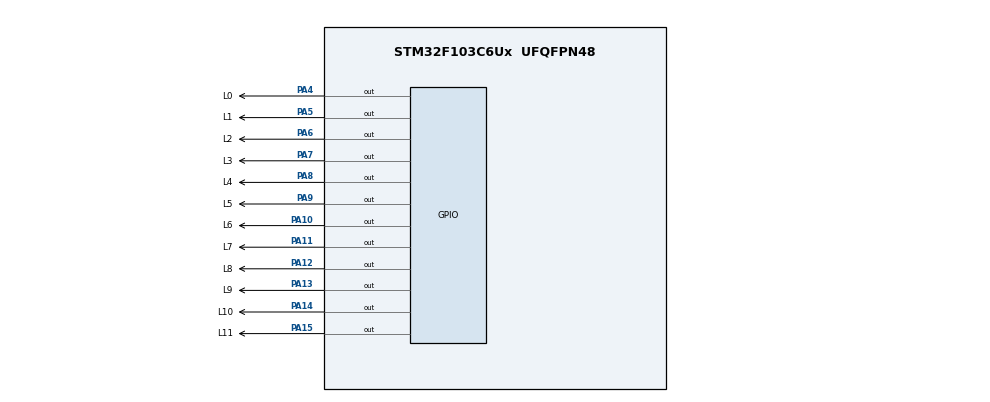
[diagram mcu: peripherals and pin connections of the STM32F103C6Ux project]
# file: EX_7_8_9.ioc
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Mcu.Family=STM32F1
Mcu.Name=STM32F103C6Ux
Mcu.Package=UFQFPN48
NVIC.PriorityGroup=NVIC_PRIORITYGROUP_4
PA10.GPIO_Label=L6
PA10.Signal=GPIO_Output
PA11.GPIO_Label=L7
PA11.Signal=GPIO_Output
PA12.GPIO_Label=L8
PA12.Signal=GPIO_Output
PA13.GPIO_Label=L9
PA13.Signal=GPIO_Output
PA14.GPIO_Label=L10
PA14.Signal=GPIO_Output
PA15.GPIO_Label=L11
PA15.Signal=GPIO_Output
PA4.GPIO_Label=L0
PA4.Signal=GPIO_Output
PA5.GPIO_Label=L1
PA5.Signal=GPIO_Output
PA6.GPIO_Label=L2
PA6.Signal=GPIO_Output
PA7.GPIO_Label=L3
PA7.Signal=GPIO_Output
PA8.GPIO_Label=L4
PA8.Signal=GPIO_Output
PA9.GPIO_Label=L5
PA9.Signal=GPIO_Output
ProjectManager.HeapSize=0x200
ProjectManager.StackSize=0x400
ProjectManager.TargetToolchain=STM32CubeIDE
RCC.APB1Freq_Value=8000000
RCC.APB2Freq_Value=8000000
board=custom

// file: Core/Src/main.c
/* USER CODE BEGIN Header */
/**
  ******************************************************************************
  * @file           : main.c
  * @brief          : Main program body
  ******************************************************************************
  * @attention
  *
  * Copyright (c) 2022 STMicroelectronics.
  * All rights reserved.
  *
  * This software is licensed under terms that can be found in the LICENSE file
  * in the root directory of this software component.
  * If no LICENSE file comes with this software, it is provided AS-IS.
  *
  ******************************************************************************
  */
/* USER CODE END Header */
#include "main.h"

void SystemClock_Config(void);
static void MX_GPIO_Init(void);

/* USER CODE BEGIN 0 */
void clearAllClock() {
	  HAL_GPIO_WritePin(GPIOA,
			  L1_Pin | L2_Pin | L3_Pin |
			  L4_Pin | L5_Pin | L6_Pin |
			  L7_Pin | L8_Pin | L9_Pin |
			  L10_Pin | L11_Pin | L0_Pin, GPIO_PIN_SET);
}

void setNumberOnClock(int num) {
	if (num<0 || num>11) return;
	HAL_GPIO_WritePin(GPIOA, L0_Pin << num, GPIO_PIN_RESET);
}

void clearNumberOnClock(int num) {
	if (num<0 || num >11) return;
	HAL_GPIO_WritePin(GPIOA, L0_Pin << num, GPIO_PIN_SET);
}
/* USER CODE END 0 */

int main(void)
{

  /* MCU Configuration--------------------------------------------------------*/

  /* Reset of all peripherals, Initializes the Flash interface and the Systick. */
  HAL_Init();

  /* Configure the system clock */
  SystemClock_Config();

  /* Initialize all configured peripherals */
  MX_GPIO_Init();
  /* USER CODE BEGIN 2 */
  HAL_GPIO_WritePin(GPIOA,
		  L1_Pin | L2_Pin | L3_Pin |
		  L4_Pin | L5_Pin | L6_Pin |
		  L7_Pin | L8_Pin | L9_Pin |
		  L10_Pin | L11_Pin | L0_Pin, GPIO_PIN_SET);
  /* USER CODE END 2 */

  /* Infinite loop */
  while (1)
  {
    /* USER CODE BEGIN 3 */
	  for (int i=0; i<12; i++) {
		  setNumberOnClock(i);
		  HAL_Delay(100);
	  }
	  HAL_Delay(1000);
	  for (int i=0; i<12; i++) {
		  clearNumberOnClock(i);
		  HAL_Delay(100);
	  }
	  HAL_Delay(1000);
	  for (int i=0; i<12; i++) {
		  setNumberOnClock(i);
		  HAL_Delay(100);
	  }
	  HAL_Delay(1000);
	  clearAllClock();
	  HAL_Delay(1000);
  }
  /* USER CODE END 3 */
}

void SystemClock_Config(void)
{
  RCC_OscInitTypeDef RCC_OscInitStruct = {0};
  RCC_ClkInitTypeDef RCC_ClkInitStruct = {0};

  /** Initializes the RCC Oscillators according to the specified parameters
  * in the RCC_OscInitTypeDef structure.
  */
  RCC_OscInitStruct.OscillatorType = RCC_OSCILLATORTYPE_HSI;
  RCC_OscInitStruct.HSIState = RCC_HSI_ON;
  RCC_OscInitStruct.HSICalibrationValue = RCC_HSICALIBRATION_DEFAULT;
  RCC_OscInitStruct.PLL.PLLState = RCC_PLL_NONE;
  if (HAL_RCC_OscConfig(&RCC_OscInitStruct) != HAL_OK)
  {
    Error_Handler();
  }

  /** Initializes the CPU, AHB and APB buses clocks
  */
  RCC_ClkInitStruct.ClockType = RCC_CLOCKTYPE_HCLK|RCC_CLOCKTYPE_SYSCLK
                              |RCC_CLOCKTYPE_PCLK1|RCC_CLOCKTYPE_PCLK2;
  RCC_ClkInitStruct.SYSCLKSource = RCC_SYSCLKSOURCE_HSI;
  RCC_ClkInitStruct.AHBCLKDivider = RCC_SYSCLK_DIV1;
  RCC_ClkInitStruct.APB1CLKDivider = RCC_HCLK_DIV1;
  RCC_ClkInitStruct.APB2CLKDivider = RCC_HCLK_DIV1;

  if (HAL_RCC_ClockConfig(&RCC_ClkInitStruct, FLASH_LATENCY_0) != HAL_OK)
  {
    Error_Handler();
  }
}

static void MX_GPIO_Init(void)
{
  GPIO_InitTypeDef GPIO_InitStruct = {0};

  /* GPIO Ports Clock Enable */
  __HAL_RCC_GPIOA_CLK_ENABLE();

  /*Configure GPIO pin Output Level */
  HAL_GPIO_WritePin(GPIOA, L0_Pin|L1_Pin|L2_Pin|L3_Pin
                          |L4_Pin|L5_Pin|L6_Pin|L7_Pin
                          |L8_Pin|L9_Pin|L10_Pin|L11_Pin, GPIO_PIN_RESET);

  /*Configure GPIO pins : L0_Pin L1_Pin L2_Pin L3_Pin
                           L4_Pin L5_Pin L6_Pin L7_Pin
                           L8_Pin L9_Pin L10_Pin L11_Pin */
  GPIO_InitStruct.Pin = L0_Pin|L1_Pin|L2_Pin|L3_Pin
                          |L4_Pin|L5_Pin|L6_Pin|L7_Pin
                          |L8_Pin|L9_Pin|L10_Pin|L11_Pin;
  GPIO_InitStruct.Mode = GPIO_MODE_OUTPUT_PP;
  GPIO_InitStruct.Pull = GPIO_NOPULL;
  GPIO_InitStruct.Speed = GPIO_SPEED_FREQ_LOW;
  HAL_GPIO_Init(GPIOA, &GPIO_InitStruct);

}

void Error_Handler(void)
{
  __disable_irq();
  while (1)
  {
  }
}
